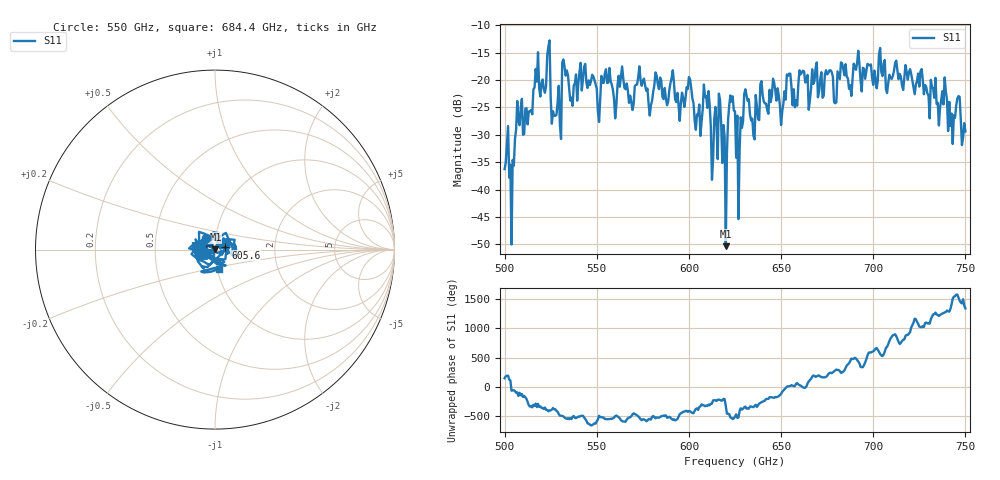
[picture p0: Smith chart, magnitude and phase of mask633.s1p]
!Created with skrf (http://scikit-rf.org).
# GHz S MA R 50.0
!freq magS11 angS11
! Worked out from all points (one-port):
!   401 points, 500 GHz to 750 GHz, reference 50 ohm
!   lowest |S11| = -50.3 dB at 620 GHz (marker M1), VSWR 1.01, Z = 50.3 + j0.157 ohm
!   |S11| at or under -10 dB: start of sweep to end of sweep
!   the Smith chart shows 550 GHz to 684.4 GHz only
!   S11 on the Smith chart (normalised r, x): 550 GHz: 0.90, +0.12; 605.6 GHz: 1.12, +0.03; 684.4 GHz: 1.02, -0.22
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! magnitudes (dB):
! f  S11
! 500 GHz  -36.3
! 503.8 GHz  -50.0
! 508.1 GHz  -28.3
! 513.8 GHz  -25.7
! 516.9 GHz  -18.0
! 523.8 GHz  -13.9
! 526.9 GHz  -26.6
! 531.2 GHz  -16.8
! 550 GHz  -21.6
! 562.5 GHz  -21.2
! 593.8 GHz  -22.4
! 600 GHz  -19.5
! 605.6 GHz  -24.5
! 609.4 GHz  -22.9
! 612.5 GHz  -38.2
! 617.5 GHz  -28.0
! 620 GHz  -50.3
! 622.5 GHz  -22.8
! 625 GHz  -25.7
! 626.9 GHz  -45.4
! 631.2 GHz  -22.8
! 634.4 GHz  -27.1
! 640 GHz  -22.8
! 656.2 GHz  -24.6
! 684.4 GHz  -19.1
! 687.5 GHz  -21.0
! 718.8 GHz  -19.9
! 750 GHz  -29.4
